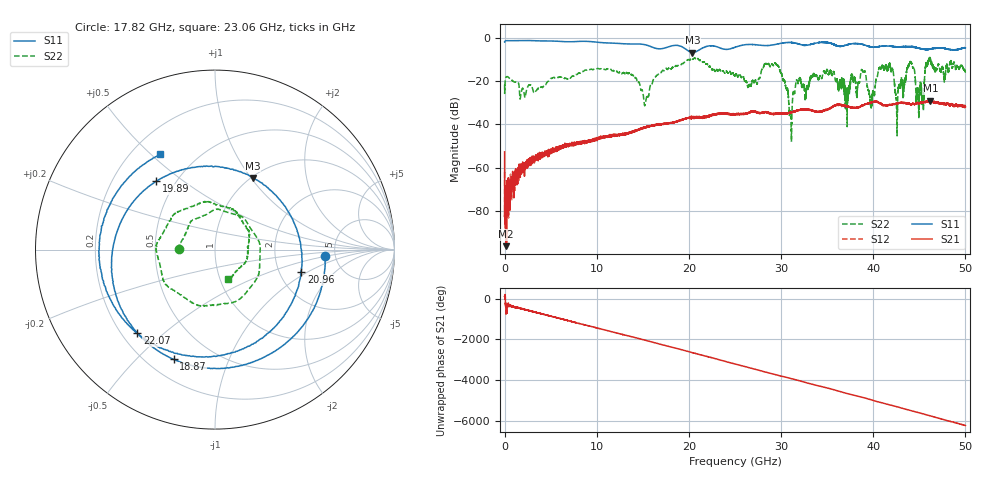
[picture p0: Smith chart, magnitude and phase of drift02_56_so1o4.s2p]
!Created with skrf (http://scikit-rf.org).
# Hz S RI R 50.0
!freq ReS11 ImS11 ReS21 ImS21 ReS12 ImS12 ReS22 ImS22
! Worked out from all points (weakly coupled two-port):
!   10001 points, 300 kHz to 50 GHz, reference 50 ohm
!   highest |S21| = -29.09 dB at 46.21 GHz (marker M1); lowest = -96.1 dB at 140.3 MHz (marker M2)
!   lowest |S11| = -6.9 dB at 20.38 GHz (marker M3), VSWR 2.64, Z = 51 + j51 ohm
!   |S11| at or under -10 dB: nowhere
!   |S22| runs from -48.0 to -9.1 dB; largest |S21 - S12| = 0.0034
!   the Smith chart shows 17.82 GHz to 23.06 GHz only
!   S11 on the Smith chart (normalised r, x): 17.82 GHz: 4.14, -0.51; 18.87 GHz: 0.30, -0.65; 19.89 GHz: 0.39, +0.40; 20.96 GHz: 2.65, -0.87; 22.07 GHz: 0.26, -0.41; 23.06 GHz: 0.32, +0.53
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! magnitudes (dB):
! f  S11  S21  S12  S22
! 300 kHz  -2.1  -52.7  -62.1  -21.7
! 140.3 MHz  -1.5  -96.1  -93.9  -18.3
! 8.335 GHz  -1.7  -48.4  -48.5  -15.7
! 15.33 GHz  -3.4  -41.4  -41.2  -29.1
! 16.67 GHz  -5.2  -40.1  -40.1  -17.0
! 17.82 GHz  -4.2  -39.3  -39.3  -14.0
! 18.87 GHz  -3.7  -38.4  -38.5  -12.6
! 19.89 GHz  -6.0  -37.1  -37.1  -10.2
! 20.38 GHz  -6.9  -36.4  -36.9  -10.0
! 20.96 GHz  -6.1  -36.8  -36.9  -9.8
! 22.07 GHz  -3.9  -36.3  -36.2  -12.5
! 23.06 GHz  -4.3  -35.2  -35.2  -15.1
! 25 GHz  -4.5  -35.3  -35.5  -17.5
! 29.51 GHz  -3.1  -34.9  -35.1  -12.6
! 31.03 GHz  -2.3  -34.3  -34.7  -33.9
! 33.34 GHz  -3.0  -33.6  -33.5  -18.1
! 38.92 GHz  -3.3  -31.1  -31.2  -16.2
! 39.86 GHz  -4.4  -29.7  -29.9  -28.9
! 41.67 GHz  -3.9  -31.1  -31.1  -13.1
! 42.58 GHz  -4.3  -30.2  -30.2  -43.0
! 46.21 GHz  -5.4  -29.1  -29.3  -9.8
! 50 GHz  -4.7  -32.0  -31.9  -15.8
